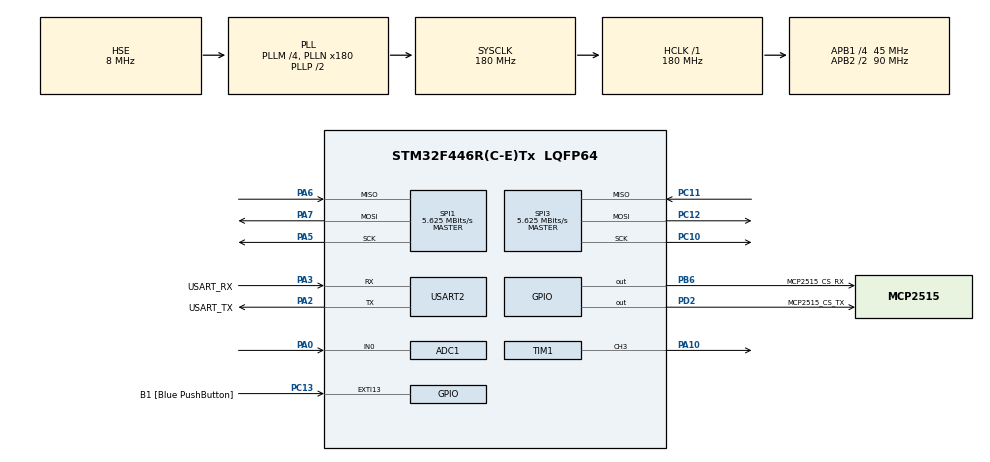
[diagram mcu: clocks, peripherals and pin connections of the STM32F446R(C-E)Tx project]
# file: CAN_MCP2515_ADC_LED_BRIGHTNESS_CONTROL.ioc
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ADC1.Channel-0\#ChannelRegularConversion=ADC_CHANNEL_0
ADC1.NbrOfConversionFlag=1
ADC1.Rank-0\#ChannelRegularConversion=1
ADC1.SamplingTime-0\#ChannelRegularConversion=ADC_SAMPLETIME_3CYCLES
ADC1.master=1
Mcu.Family=STM32F4
Mcu.Name=STM32F446R(C-E)Tx
Mcu.Package=LQFP64
NVIC.PriorityGroup=NVIC_PRIORITYGROUP_0
PA0-WKUP.Signal=ADCx_IN0
PA10.Signal=S_TIM1_CH3
PA13.GPIO_Label=TMS
PA13.Mode=Serial_Wire
PA13.Signal=SYS_JTMS-SWDIO
PA14.GPIO_Label=TCK
PA14.Mode=Serial_Wire
PA14.Signal=SYS_JTCK-SWCLK
PA2.GPIO_Label=USART_TX
PA2.Mode=Asynchronous
PA2.Signal=USART2_TX
PA3.GPIO_Label=USART_RX
PA3.Mode=Asynchronous
PA3.Signal=USART2_RX
PA5.Mode=Full_Duplex_Master
PA5.Signal=SPI1_SCK
PA6.Mode=Full_Duplex_Master
PA6.Signal=SPI1_MISO
PA7.Mode=Full_Duplex_Master
PA7.Signal=SPI1_MOSI
PB3.GPIO_Label=SWO
PB3.Signal=SYS_JTDO-SWO
PB6.GPIO_Label=MCP2515_CS_RX
PB6.PinState=GPIO_PIN_SET
PB6.Signal=GPIO_Output
PC10.Mode=Full_Duplex_Master
PC10.Signal=SPI3_SCK
PC11.Mode=Full_Duplex_Master
PC11.Signal=SPI3_MISO
PC12.Mode=Full_Duplex_Master
PC12.Signal=SPI3_MOSI
PC13.GPIO_Label=B1 [Blue PushButton]
PC13.GPIO_ModeDefaultEXTI=GPIO_MODE_IT_FALLING
PC13.Signal=GPXTI13
PC14-OSC32_IN.Mode=LSE-External-Oscillator
PC14-OSC32_IN.Signal=RCC_OSC32_IN
PC15-OSC32_OUT.Mode=LSE-External-Oscillator
PC15-OSC32_OUT.Signal=RCC_OSC32_OUT
PD2.GPIO_Label=MCP2515_CS_TX
PD2.PinState=GPIO_PIN_SET
PD2.Signal=GPIO_Output
PH0-OSC_IN.Mode=HSE-External-Oscillator
PH0-OSC_IN.Signal=RCC_OSC_IN
PH1-OSC_OUT.Mode=HSE-External-Oscillator
PH1-OSC_OUT.Signal=RCC_OSC_OUT
ProjectManager.HeapSize=0x200
ProjectManager.StackSize=0x400
ProjectManager.TargetToolchain=STM32CubeIDE
RCC.48MHZClocksFreq_Value=84000000
RCC.AHBFreq_Value=180000000
RCC.APB1CLKDivider=RCC_HCLK_DIV4
RCC.APB1Freq_Value=45000000
RCC.APB1TimFreq_Value=90000000
RCC.APB2CLKDivider=RCC_HCLK_DIV2
RCC.APB2Freq_Value=90000000
RCC.APB2TimFreq_Value=180000000
RCC.CortexFreq_Value=180000000
RCC.FLatency-AdvancedSettings=FLASH_LATENCY_5
RCC.HCLKFreq_Value=180000000
RCC.HSE_VALUE=8000000
RCC.HSI_VALUE=16000000
RCC.PLLM=4
RCC.PLLN=180
RCC.PLLSourceVirtual=RCC_PLLSOURCE_HSE
RCC.SYSCLKFreq_VALUE=180000000
RCC.SYSCLKSource=RCC_SYSCLKSOURCE_PLLCLK
RCC.USBFreq_Value=180000000
RCC.VCOOutputFreq_Value=360000000
SH.ADCx_IN0.0=ADC1_IN0,IN0
SH.S_TIM1_CH3.0=TIM1_CH3,PWM Generation3 CH3
SPI1.BaudRatePrescaler=SPI_BAUDRATEPRESCALER_16
SPI1.CalculateBaudRate=5.625 MBits/s
SPI1.Direction=SPI_DIRECTION_2LINES
SPI1.Mode=SPI_MODE_MASTER
SPI1.VirtualType=VM_MASTER
SPI3.BaudRatePrescaler=SPI_BAUDRATEPRESCALER_8
SPI3.CalculateBaudRate=5.625 MBits/s
SPI3.Direction=SPI_DIRECTION_2LINES
SPI3.Mode=SPI_MODE_MASTER
SPI3.VirtualType=VM_MASTER
TIM1.Channel-PWM\ Generation3\ CH3=TIM_CHANNEL_3
TIM1.Period=999
TIM1.Prescaler=179
TIM1.Pulse-PWM\ Generation3\ CH3=1000
USART2.VirtualMode=VM_ASYNC
VP_TIM1_VS_ClockSourceINT.Mode=Internal
board=NUCLEO-F446RE

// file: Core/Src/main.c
/* USER CODE BEGIN Header */
/**
  ******************************************************************************
  * @file           : main.c
  * @brief          : Main program body
  ******************************************************************************
  * @attention
  *
  * Copyright (c) 2025 STMicroelectronics.
  * All rights reserved.
  *
  * This software is licensed under terms that can be found in the LICENSE file
  * in the root directory of this software component.
  * If no LICENSE file comes with this software, it is provided AS-IS.
  *
  ******************************************************************************
  */
/* USER CODE END Header */
#include "main.h"
#include <stdio.h> // for printf statements
#include "mcp2515.h" // including the can module driver
#include <string.h>

ADC_HandleTypeDef hadc1; // for analog to digital control

SPI_HandleTypeDef hspi1; // for spi-can receiving
SPI_HandleTypeDef hspi3; // for spi-can transmission

TIM_HandleTypeDef htim1; // for pwm signal generation

UART_HandleTypeDef huart2; // for message transmission

/* USER CODE BEGIN PV */
MCP2515_Handle hcan_tx =
{
		.hspi = &hspi3,
		.cs_port = MCP2515_CS_TX_GPIO_Port,
		.cs_pin = MCP2515_CS_TX_Pin
};

MCP2515_Handle hcan_rx =
{
		.hspi = &hspi1,
		.cs_port = MCP2515_CS_RX_GPIO_Port,
		.cs_pin = MCP2515_CS_RX_Pin
};

CAN_Message tx_msg = {
    .id = 0x123,
    .dlc = 4,
    .data = {0x00, 0x00, 0x00, 0x00} // Initialize to 0, will update with ADC
};

CAN_Message rx_msg = {0};

char buf[64];

/* USER CODE END PV */

void SystemClock_Config(void);
static void MX_GPIO_Init(void);
static void MX_USART2_UART_Init(void);
static void MX_ADC1_Init(void);
static void MX_SPI1_Init(void);
static void MX_SPI3_Init(void);
static void MX_TIM1_Init(void);
/* USER CODE BEGIN PFP */

// uart transmission function.

// Debug print function
void UART_Print(const char *str)
{
    HAL_UART_Transmit(&huart2, (uint8_t *)str, strlen(str), HAL_MAX_DELAY);
}

int __io_putchar(int ch)
{
    HAL_UART_Transmit(&huart2, (uint8_t *)&ch, 1, HAL_MAX_DELAY);
    return ch;
}

/* USER CODE BEGIN PFP */
uint32_t Read_ADC_Value(ADC_HandleTypeDef *hadc)
{
    HAL_ADC_Start(hadc);
    HAL_ADC_PollForConversion(hadc, HAL_MAX_DELAY);
    uint32_t adc_value = HAL_ADC_GetValue(hadc);
    HAL_ADC_Stop(hadc);
    return adc_value;
}

void Update_PWM_Brightness(TIM_HandleTypeDef *htim, uint32_t channel, uint32_t adc_value)
{
    uint32_t pwm_pulse_value = adc_value / 4; // Scale 0–4095 to 0–1023 for PWM
    __HAL_TIM_SET_COMPARE(htim, channel, pwm_pulse_value);
}
/* USER CODE END PFP */
/* USER CODE END PFP */
// for adc conversion values

/* USER CODE END PFP */

int main(void)
{

  /* MCU Configuration--------------------------------------------------------*/

  /* Reset of all peripherals, Initializes the Flash interface and the Systick. */
  HAL_Init();

  /* Configure the system clock */
  SystemClock_Config();

  /* Initialize all configured peripherals */
  MX_GPIO_Init();
  MX_USART2_UART_Init();
  MX_ADC1_Init();
  MX_SPI1_Init();
  MX_SPI3_Init();
  MX_TIM1_Init();

  HAL_TIM_PWM_Start(&htim1, TIM_CHANNEL_3);

  /* USER CODE BEGIN 2 */
  UART_Print("Initializing MCP2515 Transmitter (SPI3)...\r\n");
  MCP2515_Init(&hcan_tx, 500000); // 500 kbps
  UART_Print("Initializing MCP2515 Receiver (SPI1)...\r\n");
  MCP2515_Init(&hcan_rx, 500000); // 500 kbps

  // Test message

  /* USER CODE END 2 */

  /* Infinite loop */
  while (1)
  {
	  //initializing MCP2515 Transmission
	  uint32_t adc_value = Read_ADC_Value(&hadc1);

	  // Prepare CAN message with ADC value
	  tx_msg.data[0] = (adc_value >> 8) & 0xFF; // High byte
	  tx_msg.data[1] = adc_value & 0xFF;        // Low byte
	  tx_msg.data[2] = 0x00;                    // Unused
	  tx_msg.data[3] = 0x00;                    // Unused

	  UART_Print("Sending CAN message...\r\n");
	  MCP2515_Transmit(&hcan_tx, &tx_msg);
	  HAL_Delay(100);

	  // Check for received message
	  CAN_Message rx_msg = {0};
	  if (MCP2515_Receive(&hcan_rx, &rx_msg))
	  {
		  uint32_t received_adc = (rx_msg.data[0] << 8) | rx_msg.data[1];
		  Update_PWM_Brightness(&htim1, TIM_CHANNEL_3, received_adc);
		  sprintf(buf, "Received CAN ID: 0x%03lX, DLC: %d, Data: ", rx_msg.id, rx_msg.dlc);
		  UART_Print(buf);

		  for (uint8_t i = 0; i < rx_msg.dlc; i++)
		  {
			  sprintf(buf, "%02X ", rx_msg.data[i]);
			  UART_Print(buf);
		  }
		  UART_Print("\r\n");
	  }
	  // Print ADC and PWM values for debugging
	  uint32_t pwm_pulse_value = adc_value / 4;
	  sprintf(buf, "ADC Value: %lu, PWM value: %lu\r\n", adc_value, pwm_pulse_value);
	  UART_Print(buf);

  }
  /* USER CODE END 3 */
}

void SystemClock_Config(void)
{
  RCC_OscInitTypeDef RCC_OscInitStruct = {0};
  RCC_ClkInitTypeDef RCC_ClkInitStruct = {0};

  /** Configure the main internal regulator output voltage
  */
  __HAL_RCC_PWR_CLK_ENABLE();
  __HAL_PWR_VOLTAGESCALING_CONFIG(PWR_REGULATOR_VOLTAGE_SCALE1);

  /** Initializes the RCC Oscillators according to the specified parameters
  * in the RCC_OscInitTypeDef structure.
  */
  RCC_OscInitStruct.OscillatorType = RCC_OSCILLATORTYPE_HSE;
  RCC_OscInitStruct.HSEState = RCC_HSE_ON;
  RCC_OscInitStruct.PLL.PLLState = RCC_PLL_ON;
  RCC_OscInitStruct.PLL.PLLSource = RCC_PLLSOURCE_HSE;
  RCC_OscInitStruct.PLL.PLLM = 4;
  RCC_OscInitStruct.PLL.PLLN = 180;
  RCC_OscInitStruct.PLL.PLLP = RCC_PLLP_DIV2;
  RCC_OscInitStruct.PLL.PLLQ = 2;
  RCC_OscInitStruct.PLL.PLLR = 2;
  if (HAL_RCC_OscConfig(&RCC_OscInitStruct) != HAL_OK)
  {
    Error_Handler();
  }

  /** Activate the Over-Drive mode
  */
  if (HAL_PWREx_EnableOverDrive() != HAL_OK)
  {
    Error_Handler();
  }

  /** Initializes the CPU, AHB and APB buses clocks
  */
  RCC_ClkInitStruct.ClockType = RCC_CLOCKTYPE_HCLK|RCC_CLOCKTYPE_SYSCLK
                              |RCC_CLOCKTYPE_PCLK1|RCC_CLOCKTYPE_PCLK2;
  RCC_ClkInitStruct.SYSCLKSource = RCC_SYSCLKSOURCE_PLLCLK;
  RCC_ClkInitStruct.AHBCLKDivider = RCC_SYSCLK_DIV1;
  RCC_ClkInitStruct.APB1CLKDivider = RCC_HCLK_DIV4;
  RCC_ClkInitStruct.APB2CLKDivider = RCC_HCLK_DIV2;

  if (HAL_RCC_ClockConfig(&RCC_ClkInitStruct, FLASH_LATENCY_5) != HAL_OK)
  {
    Error_Handler();
  }
}

static void MX_ADC1_Init(void)
{

  ADC_ChannelConfTypeDef sConfig = {0};

  /** Configure the global features of the ADC (Clock, Resolution, Data Alignment and number of conversion)
  */
  hadc1.Instance = ADC1;
  hadc1.Init.ClockPrescaler = ADC_CLOCK_SYNC_PCLK_DIV4;
  hadc1.Init.Resolution = ADC_RESOLUTION_12B;
  hadc1.Init.ScanConvMode = DISABLE;
  hadc1.Init.ContinuousConvMode = DISABLE;
  hadc1.Init.DiscontinuousConvMode = DISABLE;
  hadc1.Init.ExternalTrigConvEdge = ADC_EXTERNALTRIGCONVEDGE_NONE;
  hadc1.Init.ExternalTrigConv = ADC_SOFTWARE_START;
  hadc1.Init.DataAlign = ADC_DATAALIGN_RIGHT;
  hadc1.Init.NbrOfConversion = 1;
  hadc1.Init.DMAContinuousRequests = DISABLE;
  hadc1.Init.EOCSelection = ADC_EOC_SINGLE_CONV;
  if (HAL_ADC_Init(&hadc1) != HAL_OK)
  {
    Error_Handler();
  }

  /** Configure for the selected ADC regular channel its corresponding rank in the sequencer and its sample time.
  */
  sConfig.Channel = ADC_CHANNEL_0;
  sConfig.Rank = 1;
  sConfig.SamplingTime = ADC_SAMPLETIME_3CYCLES;
  if (HAL_ADC_ConfigChannel(&hadc1, &sConfig) != HAL_OK)
  {
    Error_Handler();
  }

}

static void MX_SPI1_Init(void)
{

  /* SPI1 parameter configuration*/
  hspi1.Instance = SPI1;
  hspi1.Init.Mode = SPI_MODE_MASTER;
  hspi1.Init.Direction = SPI_DIRECTION_2LINES;
  hspi1.Init.DataSize = SPI_DATASIZE_8BIT;
  hspi1.Init.CLKPolarity = SPI_POLARITY_LOW;
  hspi1.Init.CLKPhase = SPI_PHASE_1EDGE;
  hspi1.Init.NSS = SPI_NSS_SOFT;
  hspi1.Init.BaudRatePrescaler = SPI_BAUDRATEPRESCALER_16;
  hspi1.Init.FirstBit = SPI_FIRSTBIT_MSB;
  hspi1.Init.TIMode = SPI_TIMODE_DISABLE;
  hspi1.Init.CRCCalculation = SPI_CRCCALCULATION_DISABLE;
  hspi1.Init.CRCPolynomial = 10;
  if (HAL_SPI_Init(&hspi1) != HAL_OK)
  {
    Error_Handler();
  }

}

static void MX_SPI3_Init(void)
{

  /* SPI3 parameter configuration*/
  hspi3.Instance = SPI3;
  hspi3.Init.Mode = SPI_MODE_MASTER;
  hspi3.Init.Direction = SPI_DIRECTION_2LINES;
  hspi3.Init.DataSize = SPI_DATASIZE_8BIT;
  hspi3.Init.CLKPolarity = SPI_POLARITY_LOW;
  hspi3.Init.CLKPhase = SPI_PHASE_1EDGE;
  hspi3.Init.NSS = SPI_NSS_SOFT;
  hspi3.Init.BaudRatePrescaler = SPI_BAUDRATEPRESCALER_8;
  hspi3.Init.FirstBit = SPI_FIRSTBIT_MSB;
  hspi3.Init.TIMode = SPI_TIMODE_DISABLE;
  hspi3.Init.CRCCalculation = SPI_CRCCALCULATION_DISABLE;
  hspi3.Init.CRCPolynomial = 10;
  if (HAL_SPI_Init(&hspi3) != HAL_OK)
  {
    Error_Handler();
  }

}

static void MX_TIM1_Init(void)
{

  TIM_ClockConfigTypeDef sClockSourceConfig = {0};
  TIM_MasterConfigTypeDef sMasterConfig = {0};
  TIM_OC_InitTypeDef sConfigOC = {0};
  TIM_BreakDeadTimeConfigTypeDef sBreakDeadTimeConfig = {0};

  htim1.Instance = TIM1;
  htim1.Init.Prescaler = 179;
  htim1.Init.CounterMode = TIM_COUNTERMODE_UP;
  htim1.Init.Period = 999;
  htim1.Init.ClockDivision = TIM_CLOCKDIVISION_DIV1;
  htim1.Init.RepetitionCounter = 0;
  htim1.Init.AutoReloadPreload = TIM_AUTORELOAD_PRELOAD_DISABLE;
  if (HAL_TIM_Base_Init(&htim1) != HAL_OK)
  {
    Error_Handler();
  }
  sClockSourceConfig.ClockSource = TIM_CLOCKSOURCE_INTERNAL;
  if (HAL_TIM_ConfigClockSource(&htim1, &sClockSourceConfig) != HAL_OK)
  {
    Error_Handler();
  }
  if (HAL_TIM_PWM_Init(&htim1) != HAL_OK)
  {
    Error_Handler();
  }
  sMasterConfig.MasterOutputTrigger = TIM_TRGO_RESET;
  sMasterConfig.MasterSlaveMode = TIM_MASTERSLAVEMODE_DISABLE;
  if (HAL_TIMEx_MasterConfigSynchronization(&htim1, &sMasterConfig) != HAL_OK)
  {
    Error_Handler();
  }
  sConfigOC.OCMode = TIM_OCMODE_PWM1;
  sConfigOC.Pulse = 1000;
  sConfigOC.OCPolarity = TIM_OCPOLARITY_HIGH;
  sConfigOC.OCNPolarity = TIM_OCNPOLARITY_HIGH;
  sConfigOC.OCFastMode = TIM_OCFAST_DISABLE;
  sConfigOC.OCIdleState = TIM_OCIDLESTATE_RESET;
  sConfigOC.OCNIdleState = TIM_OCNIDLESTATE_RESET;
  if (HAL_TIM_PWM_ConfigChannel(&htim1, &sConfigOC, TIM_CHANNEL_3) != HAL_OK)
  {
    Error_Handler();
  }
  sBreakDeadTimeConfig.OffStateRunMode = TIM_OSSR_DISABLE;
  sBreakDeadTimeConfig.OffStateIDLEMode = TIM_OSSI_DISABLE;
  sBreakDeadTimeConfig.LockLevel = TIM_LOCKLEVEL_OFF;
  sBreakDeadTimeConfig.DeadTime = 0;
  sBreakDeadTimeConfig.BreakState = TIM_BREAK_DISABLE;
  sBreakDeadTimeConfig.BreakPolarity = TIM_BREAKPOLARITY_HIGH;
  sBreakDeadTimeConfig.AutomaticOutput = TIM_AUTOMATICOUTPUT_DISABLE;
  if (HAL_TIMEx_ConfigBreakDeadTime(&htim1, &sBreakDeadTimeConfig) != HAL_OK)
  {
    Error_Handler();
  }
  HAL_TIM_MspPostInit(&htim1);

}

static void MX_USART2_UART_Init(void)
{

  huart2.Instance = USART2;
  huart2.Init.BaudRate = 115200;
  huart2.Init.WordLength = UART_WORDLENGTH_8B;
  huart2.Init.StopBits = UART_STOPBITS_1;
  huart2.Init.Parity = UART_PARITY_NONE;
  huart2.Init.Mode = UART_MODE_TX_RX;
  huart2.Init.HwFlowCtl = UART_HWCONTROL_NONE;
  huart2.Init.OverSampling = UART_OVERSAMPLING_16;
  if (HAL_UART_Init(&huart2) != HAL_OK)
  {
    Error_Handler();
  }

}

static void MX_GPIO_Init(void)
{
  GPIO_InitTypeDef GPIO_InitStruct = {0};

  /* GPIO Ports Clock Enable */
  __HAL_RCC_GPIOC_CLK_ENABLE();
  __HAL_RCC_GPIOH_CLK_ENABLE();
  __HAL_RCC_GPIOA_CLK_ENABLE();
  __HAL_RCC_GPIOD_CLK_ENABLE();
  __HAL_RCC_GPIOB_CLK_ENABLE();

  /*Configure GPIO pin Output Level */
  HAL_GPIO_WritePin(MCP2515_CS_TX_GPIO_Port, MCP2515_CS_TX_Pin, GPIO_PIN_SET);

  /*Configure GPIO pin Output Level */
  HAL_GPIO_WritePin(MCP2515_CS_RX_GPIO_Port, MCP2515_CS_RX_Pin, GPIO_PIN_SET);

  /*Configure GPIO pin : B1_Pin */
  GPIO_InitStruct.Pin = B1_Pin;
  GPIO_InitStruct.Mode = GPIO_MODE_IT_FALLING;
  GPIO_InitStruct.Pull = GPIO_NOPULL;
  HAL_GPIO_Init(B1_GPIO_Port, &GPIO_InitStruct);

  /*Configure GPIO pin : MCP2515_CS_TX_Pin */
  GPIO_InitStruct.Pin = MCP2515_CS_TX_Pin;
  GPIO_InitStruct.Mode = GPIO_MODE_OUTPUT_PP;
  GPIO_InitStruct.Pull = GPIO_NOPULL;
  GPIO_InitStruct.Speed = GPIO_SPEED_FREQ_LOW;
  HAL_GPIO_Init(MCP2515_CS_TX_GPIO_Port, &GPIO_InitStruct);

  /*Configure GPIO pin : MCP2515_CS_RX_Pin */
  GPIO_InitStruct.Pin = MCP2515_CS_RX_Pin;
  GPIO_InitStruct.Mode = GPIO_MODE_OUTPUT_PP;
  GPIO_InitStruct.Pull = GPIO_NOPULL;
  GPIO_InitStruct.Speed = GPIO_SPEED_FREQ_LOW;
  HAL_GPIO_Init(MCP2515_CS_RX_GPIO_Port, &GPIO_InitStruct);

}

void Error_Handler(void)
{
  __disable_irq();
  while (1)
  {
  }
}
